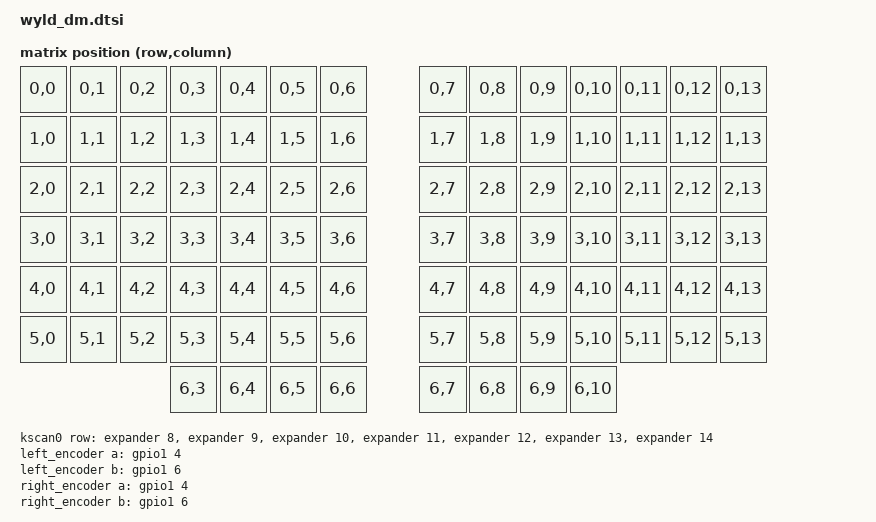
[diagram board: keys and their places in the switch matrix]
#include <dt-bindings/zmk/matrix_transform.h>
#include <dt-bindings/led/led.h>


//wyld_dm_6x6 = <
//    RC(0,0) RC(0,1) RC(0,2) RC(0,3) RC(0,4) RC(0,5)               RC(0,6) RC(0,7) RC(0,8) RC(0,9) RC(0,10) RC(0,11)
//    RC(0,0) RC(0,1) RC(0,2) RC(0,3) RC(0,4) RC(0,5)               RC(0,6) RC(0,7) RC(0,8) RC(0,9) RC(0,10) RC(0,11)
//    RC(1,0) RC(1,1) RC(1,2) RC(1,3) RC(1,4) RC(1,5)               RC(1,6) RC(1,7) RC(1,8) RC(1,9) RC(1,10) RC(1,11)
//    RC(2,0) RC(2,1) RC(2,2) RC(2,3) RC(2,4) RC(2,5)               RC(2,6) RC(2,7) RC(2,8) RC(2,9) RC(2,10) RC(2,11)
//    RC(4,0) RC(4,1) RC(4,2) RC(4,3) RC(4,4) RC(4,5)               RC(4,6) RC(4,7) RC(4,8) RC(4,9) RC(4,10) RC(4,11)
//                    RC(5,2) RC(5,3)      RC(5,4) RC(5,5)      RC(5,6) RC(5,7)     RC(5,8) RC(5,9)
//                         RC(6,2) RC(6,3) RC(6,4) RC(6,5)      RC(6,6) RC(6,7) RC(6,8) RC(6,9)
//        >;
//
//wyld_dm_5x7 = <
//    RC(0,0) RC(0,1) RC(0,2) RC(0,3) RC(0,4) RC(0,5) RC(0,6)                     RC(0,7) RC(0,8) RC(0,9) RC(0,10) RC(0,11) RC(0,12) RC(0,13)
//    RC(0,0) RC(0,1) RC(0,2) RC(0,3) RC(0,4) RC(0,5) RC(0,6)                     RC(0,7) RC(0,8) RC(0,9) RC(0,10) RC(0,11) RC(0,12) RC(0,13)
//    RC(1,0) RC(1,1) RC(1,2) RC(1,3) RC(1,4) RC(1,5) RC(1,6) RC(5,1)   RC(5, 10) RC(1,7) RC(1,8) RC(1,9) RC(1,10) RC(1,11) RC(1,12) RC(1,13)
//    RC(2,0) RC(2,1) RC(2,2) RC(2,3) RC(2,4) RC(2,5) RC(2,6)                     RC(2,7) RC(2,8) RC(2,9) RC(2,10) RC(2,11) RC(2,12) RC(2,13)
//    RC(4,0) RC(4,1) RC(4,2) RC(4,3) RC(4,4)                                                     RC(4,9) RC(4,10) RC(4,11) RC(4,12) RC(4,13)
//                                        RC(5,2) RC(5,3) RC(5,4)           RC(5,7) RC(5,8) RC(5,9)
//                                                RC(5,5) RC(5,6)
//        >;

/ {
    chosen {
        zmk,kscan = &kscan0;
        zmk,matrix_transform = &default_transform;
        zephyr,display = &oled;
		zmk,underglow = &led_strip;
    };

    default_transform: keymap_transform_0 {
        compatible = "zmk,matrix-transform";
        columns = <14>;
        rows = <7>;
// | SW6  | SW5  | SW4  | SW3  | SW2  | SW1  |                 | SW1  | SW2  | SW3  | SW4  | SW5  | SW6  |
// | SW12 | SW11 | SW10 | SW9  | SW8  | SW7  |                 | SW7  | SW8  | SW9  | SW10 | SW11 | SW12 |
// | SW18 | SW17 | SW16 | SW15 | SW14 | SW13 |                 | SW13 | SW14 | SW15 | SW16 | SW17 | SW18 |
// | SW24 | SW23 | SW22 | SW21 | SW20 | SW19 |                 | SW19 | SW20 | SW21 | SW22 | SW23 | SW24 |
// | SW30 | SW29 | SW28 | SW27 | SW26 | SW25 |                 | SW25 | SW26 | SW27 | SW28 | SW29 | SW30 |

  //#   5x7 with encoders
//        map = <
//    RC(0,0) RC(0,1) RC(0,2) RC(0,3) RC(0,4) RC(0,5) RC(0,6)                     RC(0,7) RC(0,8) RC(0,9) RC(0,10) RC(0,11) RC(0,12) RC(0,13)
//    RC(0,0) RC(0,1) RC(0,2) RC(0,3) RC(0,4) RC(0,5) RC(0,6)                     RC(0,7) RC(0,8) RC(0,9) RC(0,10) RC(0,11) RC(0,12) RC(0,13)
//    RC(1,0) RC(1,1) RC(1,2) RC(1,3) RC(1,4) RC(1,5) RC(1,6) RC(5,1)   RC(5, 10) RC(1,7) RC(1,8) RC(1,9) RC(1,10) RC(1,11) RC(1,12) RC(1,13)
//    RC(2,0) RC(2,1) RC(2,2) RC(2,3) RC(2,4) RC(2,5) RC(2,6)                     RC(2,7) RC(2,8) RC(2,9) RC(2,10) RC(2,11) RC(2,12) RC(2,13)
//    RC(4,0) RC(4,1) RC(4,2) RC(4,3) RC(4,4)                                                     RC(4,9) RC(4,10) RC(4,11) RC(4,12) RC(4,13)
//                                        RC(5,2) RC(5,3) RC(5,4)           RC(5,7) RC(5,8) RC(5,9)
//                                                RC(5,5) RC(5,6)
//        >;

//                map = <
//
//    RC(1,5) RC(1,4) RC(1,3) RC(1,2) RC(1,1) RC(1,0)                      RC(1,7) RC(1,8) RC(1,9) RC(1,10) RC(1,11) RC(1,12)
//    RC(2,5) RC(2,4) RC(2,3) RC(2,2) RC(2,1) RC(2,0)                      RC(2,7) RC(2,8) RC(2,9) RC(2,10) RC(2,11) RC(2,12)
//    RC(3,5) RC(3,4) RC(3,3) RC(3,2) RC(3,1) RC(3,0) RC(0,6)    RC(0,13)  RC(3,7) RC(3,8) RC(3,9) RC(3,10) RC(3,11) RC(3,12)
//    RC(4,5) RC(4,4) RC(4,3) RC(4,2) RC(4,1) RC(4,0)                      RC(4,7) RC(4,8) RC(4,9) RC(4,10) RC(4,11) RC(4,12)
//                                      RC(0,0) RC(0,1)                  RC(0,7)
//                                        RC(0,5) RC(0,2)                RC(0,8)
//                                          RC(0,4) RC(0,3)     RC(0,10) RC(0,9)
//        >;


            // RC(5,5)  AND RC(4,10) ARE IS THE ENCODERS!
                map = <
    RC(0,0) RC(0,1) RC(0,2) RC(0,3) RC(0,4) RC(0,5) RC(0,6) 			RC(0,7) RC(0,8) RC(0,9) RC(0,10) RC(0,11) RC(0,12) RC(0,13)
    RC(1,0) RC(1,1) RC(1,2) RC(1,3) RC(1,4) RC(1,5) RC(1,6) 			RC(1,7) RC(1,8) RC(1,9) RC(1,10) RC(1,11) RC(1,12) RC(1,13)
    RC(2,0) RC(2,1) RC(2,2) RC(2,3) RC(2,4) RC(2,5) RC(2,6) 			RC(2,7) RC(2,8) RC(2,9) RC(2,10) RC(2,11) RC(2,12) RC(2,13)
    RC(3,0) RC(3,1) RC(3,2) RC(3,3) RC(3,4) RC(3,5) RC(3,6) 			RC(3,7) RC(3,8) RC(3,9) RC(3,10) RC(3,11) RC(3,12) RC(3,13)
    RC(4,0) RC(4,1) RC(4,2) RC(4,3) RC(4,4) RC(4,5) RC(4,6) 			RC(4,7) RC(4,8) RC(4,9) RC(4,10) RC(4,11) RC(4,12) RC(4,13)
    RC(5,0) RC(5,1) RC(5,2) RC(5,3) RC(5,4) RC(5,5) RC(5,6)             RC(5,7) RC(5,8) RC(5,9) RC(5,10) RC(5,11) RC(5,12) RC(5,13)
                            RC(6,3) RC(6,4) RC(6,5) RC(6,6)             RC(6,7) RC(6,8) RC(6,9) RC(6,10)

        >;
    };


    kscan0: kscan_0 {
        compatible = "zmk,kscan-gpio-matrix";
//        label = "KSCAN";
        diode-direction = "col2row";

		// expander pins
		row-gpios
		= <&expander 8 (GPIO_ACTIVE_LOW | GPIO_PULL_UP)>
		, <&expander 9 (GPIO_ACTIVE_LOW | GPIO_PULL_UP)>
		, <&expander 10 (GPIO_ACTIVE_LOW | GPIO_PULL_UP)>
		, <&expander 11 (GPIO_ACTIVE_LOW | GPIO_PULL_UP)>
		, <&expander 12 (GPIO_ACTIVE_LOW | GPIO_PULL_UP)>
		, <&expander 13 (GPIO_ACTIVE_LOW | GPIO_PULL_UP)>
		, <&expander 14 (GPIO_ACTIVE_LOW | GPIO_PULL_UP)>

        ;

        // PILLBUG PINS
//        row-gpios
//			= <&gpio1 11 (GPIO_ACTIVE_HIGH | GPIO_PULL_DOWN)>  // PB1  / 1.11
//			, <&gpio0 2 (GPIO_ACTIVE_HIGH | GPIO_PULL_DOWN)>  // PB0  / 1.09
//			, <&gpio1 15 (GPIO_ACTIVE_HIGH | GPIO_PULL_DOWN)>  // PA4  / 1.11
//			, <&gpio0 9 (GPIO_ACTIVE_HIGH | GPIO_PULL_DOWN)>  // PA3  / 0.31
//            , <&gpio0 31 (GPIO_ACTIVE_HIGH | GPIO_PULL_DOWN)>  // PA2  / 1.15
//			, <&gpio0 29 (GPIO_ACTIVE_HIGH | GPIO_PULL_DOWN)>  // PA1  / 0.29
//            ;

        // NANO V2 PINS
//        row-gpios
//            = <&gpio0 10 (GPIO_ACTIVE_HIGH | GPIO_PULL_DOWN)>  // 0.9
//			, <&gpio0 9 (GPIO_ACTIVE_HIGH | GPIO_PULL_DOWN)>  // 0.9
//            , <&gpio1 7 (GPIO_ACTIVE_HIGH | GPIO_PULL_DOWN)>  // 1.07
//			, <&gpio1 02 (GPIO_ACTIVE_HIGH | GPIO_PULL_DOWN)>  // 1.02
//        	, <&gpio1 01 (GPIO_ACTIVE_HIGH | GPIO_PULL_DOWN)>  // 1.01
//            ;

//        // NANO V2 PINS
//        row-gpios
//			= <&gpio1 13 (GPIO_ACTIVE_HIGH | GPIO_PULL_DOWN)>  // 1.13
//			, <&gpio1 11 (GPIO_ACTIVE_HIGH | GPIO_PULL_DOWN)>  // 1.11
//			, <&gpio0 10 (GPIO_ACTIVE_HIGH | GPIO_PULL_DOWN)>  // 0.10
//			, <&gpio0 9 (GPIO_ACTIVE_HIGH | GPIO_PULL_DOWN)>  // 0.9
////            , <&gpio0 31 (GPIO_ACTIVE_HIGH | GPIO_PULL_DOWN)>  // PA2  / 1.15
////			, <&gpio0 29 (GPIO_ACTIVE_HIGH | GPIO_PULL_DOWN)>  // PA1  / 0.29
//            ;

    };

    left_encoder: encoder_left {
		compatible = "alps,ec11";
//		label = "LEFT_ENCODER";
		a-gpios = <&gpio1 4 (GPIO_ACTIVE_HIGH | GPIO_PULL_UP)>;
		b-gpios = <&gpio1 6 (GPIO_ACTIVE_HIGH | GPIO_PULL_UP)>;
		steps = <60>;
		status = "disabled";
	};

	right_encoder: encoder_right {
		compatible = "alps,ec11";
//		label = "RIGHT_ENCODER";
		a-gpios = <&gpio1 4 (GPIO_ACTIVE_HIGH | GPIO_PULL_UP)>;
		b-gpios = <&gpio1 6 (GPIO_ACTIVE_HIGH | GPIO_PULL_UP)>;
		steps = <60>;
		status = "disabled";
	};

    sensors: sensors {
        compatible = "zmk,keymap-sensors";
        sensors = <&left_encoder>, <&right_encoder>;
        triggers-per-rotation = <15>;
    };
};

&pinctrl {
	spi1_default: spi1_default {
		group1 {
			psels = <NRF_PSEL(SPIM_SCK, 0, 6)>,
					<NRF_PSEL(SPIM_MOSI, 0, 8)>,
					<NRF_PSEL(SPIM_MISO, 0, 8)>;
		};
	};

	spi1_sleep: spi1_sleep {
		group1 {
			psels = <NRF_PSEL(SPIM_SCK, 0, 6)>,
					<NRF_PSEL(SPIM_MOSI, 0, 8)>,
					<NRF_PSEL(SPIM_MISO, 0, 8)>;
			low-power-enable;
		};
	};

	spi3_default: spi3_default {
		group1 {
			psels = <NRF_PSEL(SPIM_SCK, 0, 25)>,
					<NRF_PSEL(SPIM_MOSI, 0, 11)>;
		};
	};

	spi3_sleep: spi3_sleep {
		group1 {
			psels = <NRF_PSEL(SPIM_SCK, 0, 25)>,
					<NRF_PSEL(SPIM_MOSI, 0, 11)>;
			low-power-enable;
		};
	};
};

&spi1 {
	compatible = "nordic,nrf-spim";
	status = "okay";

	pinctrl-0 = <&spi1_default>;
	pinctrl-1 = <&spi1_sleep>;
	pinctrl-names = "default", "sleep";
	cs-gpios = <&gpio0 31 GPIO_ACTIVE_LOW>;

	trackball: trackball@0 {
		status = "okay";
		compatible = "pixart,pmw3610";
		reg = <0>;
		spi-max-frequency = <2000000>;
		irq-gpios = <&gpio0 29 (GPIO_ACTIVE_LOW | GPIO_PULL_UP)>;
		snipe-layers = <2>;
		scroll-layers = <3>;
		automouse-layer = <4>;
	};

//	expander: mcp23sxx@0 {
//		compatible = "microchip,mcp23sxx";
//		status = "okay";
//		gpio-controller;
//		spi-max-frequency = <800000>;
//		reg = <0>;
//		//        label = "MCP23S17";
//		#gpio-cells = <2>;
//		ngpios = <16>;
//		int-gpios = <&gpio1 15 GPIO_ACTIVE_LOW>;
//	};
};

&spi3 {
	compatible = "nordic,nrf-spim";
	status = "okay";

	pinctrl-0 = <&spi3_default>;
	pinctrl-1 = <&spi3_sleep>;
	pinctrl-names = "default", "sleep";

	led_strip: ws2812@0 {
		compatible = "worldsemi,ws2812-spi";

		/* SPI */
		reg = <0>; /* ignored, but necessary for SPI bindings */
		spi-max-frequency = <4000000>;

		/* WS2812 */
		chain-length = <88>; /* number of LEDs */
		spi-one-frame = <0x70>;
		spi-zero-frame = <0x40>;
		color-mapping = <LED_COLOR_ID_GREEN
						 LED_COLOR_ID_RED
						 LED_COLOR_ID_BLUE>;
	};
};

//nice_view_spi: &spi0 {
//    compatible = "nordic,nrf-spim";
//    pinctrl-0 = <&spi0_default>;
//    pinctrl-1 = <&spi0_sleep>;
//    pinctrl-names = "default", "sleep";
//    cs-gpios = <&gpio1 0 GPIO_ACTIVE_HIGH>;
//};

/ {
	pmw3610_listener {
		compatible = "zmk,input-listener";
		device = <&trackball>;
	};
};


&pro_micro_i2c {
	status = "okay";

	oled: ssd1306@3c {
		compatible = "solomon,ssd1306fb";
		reg = <0x3c>;
//		label = "DISPLAY";
		width = <128>;
		height = <32>;
		segment-offset = <0>;
		page-offset = <0>;
		display-offset = <0>;
		multiplex-ratio = <31>;
		segment-remap;
		com-invdir;
		com-sequential;
		prechargep = <0x22>;
	};
};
